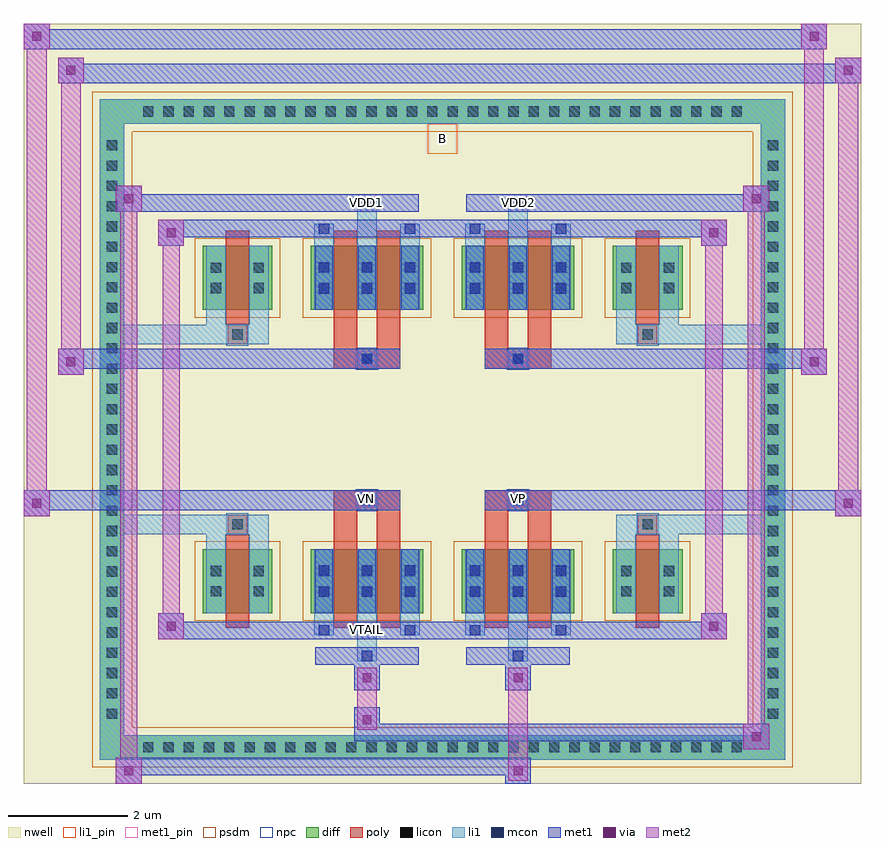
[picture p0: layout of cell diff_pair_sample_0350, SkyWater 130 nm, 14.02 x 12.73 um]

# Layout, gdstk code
import gdstk
lib = gdstk.Library(unit=1e-6, precision=5e-09)
def R(c, l, rs):  # rectangles x0, y0, x1, y1
    for r in rs: c.add(gdstk.rectangle(r[:2], r[2:], *l))
def A(c, l, x, y, w, h, nx, ny, dx, dy):  # array of equal rectangles
    R(c, l, [(x+i*dx, y+j*dy, x+i*dx+w, y+j*dy+h) for i in range(nx) for j in range(ny)])
def P(c, l, *ps):  # polygons
    for p in ps: c.add(gdstk.Polygon(p, *l))
nwell = (64, 20)
diff = (65, 20)
poly = (66, 20)
licon = (66, 44)
li1_pin = (67, 16)
li1 = (67, 20)
mcon = (67, 44)
met1_pin = (68, 16)
met1 = (68, 20)
via = (68, 44)
met2 = (69, 20)
psdm = (94, 20)
npc = (95, 20)

diff_pair_sample_0350 = lib.new_cell('diff_pair_sample_0350')
R(diff_pair_sample_0350, nwell, [(-7.01,-5.93,7.01,6.8), (-4.33,-4.12,-0.01,-0.82), (0.01,-4.12,4.33,-0.82), (-4.33,0.82,-0.01,4.12), (0.01,0.82,4.33,4.12)])
A(diff_pair_sample_0350, diff, -5.135, -5.53, 0.41, 0.41, 30, 2, 0.34, 10.65)
A(diff_pair_sample_0350, diff, -5.74, -4.965, 0.41, 0.41, 1, 29, 0, 0.34)
A(diff_pair_sample_0350, diff, 5.33, -4.965, 0.41, 0.41, 1, 29, 0, 0.34)
R(diff_pair_sample_0350, diff, [(-5.135,-5.53,5.135,-5.12), (-5.74,-4.965,-5.33,4.965), (5.33,-4.965,5.74,4.965), (-4.02,-3.075,-2.85,-2.005), (-2.21,-3.075,-0.32,-2.005), (0.32,-3.075,2.21,-2.005), (2.85,-3.075,4.02,-2.005), (-4.02,2.005,-2.85,3.075), (-2.21,2.005,-0.32,3.075), (0.32,2.005,2.21,3.075), (2.85,2.005,4.02,3.075), (-5.135,5.12,5.135,5.53)])
P(diff_pair_sample_0350, diff, [(5.74,5.53),(-5.74,5.53),(-5.74,-5.12),(-5.33,-5.12),(-5.33,5.12),(5.33,5.12),(5.33,-5.12),(-5.33,-5.12),(-5.74,-5.12),(-5.74,-5.53),(5.74,-5.53)])
R(diff_pair_sample_0350, poly, [(-3.63,-3.325,-3.24,-1.755), (-1.82,-3.325,-1.43,-1.755), (-1.1,-3.325,-0.71,-1.755), (0.71,-3.325,1.1,-1.755), (1.43,-3.325,1.82,-1.755), (3.24,-3.325,3.63,-1.755), (-3.6,-1.755,-3.27,-1.425), (-3.6,-1.755,-3.27,-1.425), (-1.82,-1.755,-1.43,-1.35), (-1.1,-1.755,-0.71,-1.35), (0.71,-1.755,1.1,-1.35), (1.43,-1.755,1.82,-1.35), (3.27,-1.755,3.6,-1.425), (3.27,-1.755,3.6,-1.425), (-1.82,-1.35,-0.71,-1.02), (-1.43,-1.35,-1.1,-1.02), (0.71,-1.35,1.82,-1.02), (1.1,-1.35,1.43,-1.02), (-1.82,1.02,-0.71,1.35), (-1.43,1.02,-1.1,1.35), (0.71,1.02,1.82,1.35), (1.1,1.02,1.43,1.35), (-1.82,1.35,-1.43,1.755), (-1.1,1.35,-0.71,1.755), (0.71,1.35,1.1,1.755), (1.43,1.35,1.82,1.755), (-3.6,1.425,-3.27,1.755), (-3.6,1.425,-3.27,1.755), (3.27,1.425,3.6,1.755), (3.27,1.425,3.6,1.755), (-3.63,1.755,-3.24,3.325), (-1.82,1.755,-1.43,3.325), (-1.1,1.755,-0.71,3.325), (0.71,1.755,1.1,3.325), (1.43,1.755,1.82,3.325), (3.24,1.755,3.63,3.325)])
A(diff_pair_sample_0350, licon, -5.015, -5.41, 0.17, 0.17, 30, 2, 0.34, 10.65)
A(diff_pair_sample_0350, licon, -5.62, -4.845, 0.17, 0.17, 1, 29, 0, 0.34)
A(diff_pair_sample_0350, licon, 5.45, -4.845, 0.17, 0.17, 1, 29, 0, 0.34)
A(diff_pair_sample_0350, licon, -2.07, -2.795, 0.17, 0.17, 3, 2, 0.72, 0.34)
A(diff_pair_sample_0350, licon, 0.46, -2.795, 0.17, 0.17, 3, 2, 0.72, 0.34)
A(diff_pair_sample_0350, licon, -2.07, 2.285, 0.17, 0.17, 3, 2, 0.72, 0.34)
A(diff_pair_sample_0350, licon, 0.46, 2.285, 0.17, 0.17, 3, 2, 0.72, 0.34)
R(diff_pair_sample_0350, licon, [(-3.88,-2.795,-3.71,-2.625), (-3.16,-2.795,-2.99,-2.625), (2.99,-2.795,3.16,-2.625), (3.71,-2.795,3.88,-2.625), (-3.88,-2.455,-3.71,-2.285), (-3.16,-2.455,-2.99,-2.285), (2.99,-2.455,3.16,-2.285), (3.71,-2.455,3.88,-2.285), (-3.52,-1.675,-3.35,-1.505), (3.35,-1.675,3.52,-1.505), (-1.35,-1.27,-1.18,-1.1), (1.18,-1.27,1.35,-1.1), (-1.35,1.1,-1.18,1.27), (1.18,1.1,1.35,1.27), (-3.52,1.505,-3.35,1.675), (3.35,1.505,3.52,1.675), (-3.88,2.285,-3.71,2.455), (-3.16,2.285,-2.99,2.455), (2.99,2.285,3.16,2.455), (3.71,2.285,3.88,2.455), (-3.88,2.625,-3.71,2.795), (-3.16,2.625,-2.99,2.795), (2.99,2.625,3.16,2.795), (3.71,2.625,3.88,2.795)])
R(diff_pair_sample_0350, li1_pin, [(-0.25,4.62,0.25,5.12)])
A(diff_pair_sample_0350, li1, -5.095, -5.49, 0.33, 0.33, 30, 2, 0.34, 10.65)
A(diff_pair_sample_0350, li1, -5.7, -4.925, 0.33, 0.33, 1, 29, 0, 0.34)
A(diff_pair_sample_0350, li1, 5.37, -4.925, 0.33, 0.33, 1, 29, 0, 0.34)
A(diff_pair_sample_0350, li1, -2.15, -3.075, 0.33, 1.07, 3, 2, 0.72, 5.08)
A(diff_pair_sample_0350, li1, 0.38, -3.075, 0.33, 1.07, 3, 2, 0.72, 5.08)
A(diff_pair_sample_0350, li1, -2.15, -2.875, 0.33, 0.33, 3, 2, 0.72, 0.34)
A(diff_pair_sample_0350, li1, 0.38, -2.875, 0.33, 0.33, 3, 2, 0.72, 0.34)
A(diff_pair_sample_0350, li1, -2.07, -2.805, 0.17, 0.17, 3, 2, 0.72, 0.36)
A(diff_pair_sample_0350, li1, -2.07, -2.805, 0.17, 0.53, 3, 2, 0.72, 5.08)
A(diff_pair_sample_0350, li1, 0.46, -2.805, 0.17, 0.17, 3, 2, 0.72, 0.36)
A(diff_pair_sample_0350, li1, 0.46, -2.805, 0.17, 0.53, 3, 2, 0.72, 5.08)
A(diff_pair_sample_0350, li1, -2.15, 2.205, 0.33, 0.33, 3, 2, 0.72, 0.34)
A(diff_pair_sample_0350, li1, 0.38, 2.205, 0.33, 0.33, 3, 2, 0.72, 0.34)
A(diff_pair_sample_0350, li1, -2.07, 2.275, 0.17, 0.17, 3, 2, 0.72, 0.36)
A(diff_pair_sample_0350, li1, 0.46, 2.275, 0.17, 0.17, 3, 2, 0.72, 0.36)
R(diff_pair_sample_0350, li1, [(-5.74,-5.53,-5.33,-5.12), (-5.74,-5.53,-5.33,-5.12), (-5.33,-5.53,5.33,-5.12), (5.33,-5.53,5.74,-5.12), (5.33,-5.53,5.74,-5.12), (-5.74,-5.12,-5.33,5.12), (5.33,-5.12,5.74,5.12), (-1.43,-3.88,-1.1,-3.075), (-1.35,-3.88,-1.18,-3.71), (1.1,-3.88,1.43,-3.075), (1.18,-3.88,1.35,-3.71), (-2.15,-3.45,-1.82,-3.075), (-2.07,-3.45,-1.9,-3.28), (-0.71,-3.45,-0.38,-3.075), (-0.63,-3.45,-0.46,-3.28), (0.38,-3.45,0.71,-3.075), (0.46,-3.45,0.63,-3.28), (1.82,-3.45,2.15,-3.075), (1.9,-3.45,2.07,-3.28), (-3.96,-3.075,-3.63,-2.005), (-3.24,-3.075,-2.91,-2.005), (2.91,-3.075,3.24,-2.005), (3.63,-3.075,3.96,-2.005), (-3.96,-2.875,-3.63,-2.545), (-3.24,-2.875,-2.91,-2.545), (2.91,-2.875,3.24,-2.545), (3.63,-2.875,3.96,-2.545), (-3.96,-2.535,-3.63,-2.205), (-3.24,-2.535,-2.91,-2.205), (2.91,-2.535,3.24,-2.205), (3.63,-2.535,3.96,-2.205), (-3.96,-2.005,-3.63,-1.425), (-3.24,-2.005,-2.91,-1.425), (2.91,-2.005,3.24,-1.425), (3.63,-2.005,3.96,-1.425), (-5.74,-1.755,-3.6,-1.425), (-3.96,-1.755,-3.6,-1.425), (-3.6,-1.755,-3.27,-1.425), (-3.27,-1.755,-2.91,-1.425), (2.91,-1.755,3.27,-1.425), (3.27,-1.755,3.6,-1.425), (3.27,-1.755,5.74,-1.425), (3.6,-1.755,3.96,-1.425), (-1.43,-1.35,-1.1,-1.02), (1.1,-1.35,1.43,-1.02), (-1.43,1.02,-1.1,1.35), (1.1,1.02,1.43,1.35), (-5.74,1.425,-3.6,1.755), (-3.96,1.425,-3.6,1.755), (-3.96,1.425,-3.63,2.005), (-3.6,1.425,-3.27,1.755), (-3.27,1.425,-2.91,1.755), (-3.24,1.425,-2.91,2.005), (2.91,1.425,3.27,1.755), (2.91,1.425,3.24,2.005), (3.27,1.425,3.6,1.755), (3.27,1.425,5.74,1.755), (3.6,1.425,3.96,1.755), (3.63,1.425,3.96,2.005), (-3.96,2.005,-3.63,3.075), (-3.24,2.005,-2.91,3.075), (2.91,2.005,3.24,3.075), (3.63,2.005,3.96,3.075), (-3.96,2.205,-3.63,2.535), (-3.24,2.205,-2.91,2.535), (2.91,2.205,3.24,2.535), (3.63,2.205,3.96,2.535), (-3.96,2.545,-3.63,2.875), (-3.24,2.545,-2.91,2.875), (2.91,2.545,3.24,2.875), (3.63,2.545,3.96,2.875), (-2.15,3.075,-1.82,3.45), (-1.43,3.075,-1.1,3.88), (-0.71,3.075,-0.38,3.45), (0.38,3.075,0.71,3.45), (1.1,3.075,1.43,3.88), (1.82,3.075,2.15,3.45), (-2.07,3.28,-1.9,3.45), (-0.63,3.28,-0.46,3.45), (0.46,3.28,0.63,3.45), (1.9,3.28,2.07,3.45), (-1.35,3.71,-1.18,3.88), (1.18,3.71,1.35,3.88), (-5.74,5.12,-5.33,5.53), (-5.74,5.12,-5.33,5.53), (-5.33,5.12,5.33,5.53), (5.33,5.12,5.74,5.53), (5.33,5.12,5.74,5.53)])
A(diff_pair_sample_0350, mcon, -2.07, -2.805, 0.17, 0.17, 3, 2, 0.72, 0.36)
A(diff_pair_sample_0350, mcon, 0.46, -2.805, 0.17, 0.17, 3, 2, 0.72, 0.36)
A(diff_pair_sample_0350, mcon, -2.07, 2.275, 0.17, 0.17, 3, 2, 0.72, 0.36)
A(diff_pair_sample_0350, mcon, 0.46, 2.275, 0.17, 0.17, 3, 2, 0.72, 0.36)
R(diff_pair_sample_0350, mcon, [(-1.35,-3.88,-1.18,-3.71), (1.18,-3.88,1.35,-3.71), (-2.07,-3.45,-1.9,-3.28), (-0.63,-3.45,-0.46,-3.28), (0.46,-3.45,0.63,-3.28), (1.9,-3.45,2.07,-3.28), (-1.35,-1.27,-1.18,-1.1), (1.18,-1.27,1.35,-1.1), (-1.35,1.1,-1.18,1.27), (1.18,1.1,1.35,1.27), (-2.07,3.28,-1.9,3.45), (-0.63,3.28,-0.46,3.45), (0.46,3.28,0.63,3.45), (1.9,3.28,2.07,3.45), (-1.35,3.71,-1.18,3.88), (1.18,3.71,1.35,3.88)])
R(diff_pair_sample_0350, met1_pin, [(-1.4,-3.49,-1.13,-3.22), (-1.4,-1.29,-1.13,-1.02), (1.13,-1.29,1.4,-1.02), (-1.4,3.67,-1.13,3.94), (1.13,3.67,1.4,3.94)])
A(diff_pair_sample_0350, met1, -2.13, -3.075, 0.29, 1.07, 3, 2, 0.72, 5.08)
A(diff_pair_sample_0350, met1, 0.4, -3.075, 0.29, 1.07, 3, 2, 0.72, 5.08)
A(diff_pair_sample_0350, met1, -2.13, -2.865, 0.29, 0.29, 3, 2, 0.72, 0.36)
A(diff_pair_sample_0350, met1, 0.4, -2.865, 0.29, 0.29, 3, 2, 0.72, 0.36)
A(diff_pair_sample_0350, met1, -2.13, 2.215, 0.29, 0.29, 3, 2, 0.72, 0.36)
A(diff_pair_sample_0350, met1, 0.4, 2.215, 0.29, 0.29, 3, 2, 0.72, 0.36)
R(diff_pair_sample_0350, met1, [(-5.47,-5.93,-5.04,-5.5), (1.05,-5.93,1.48,-5.5), (-5.47,-5.79,1.48,-5.5), (5.04,-5.36,5.47,-4.93), (-1.48,-5.22,5.47,-4.93), (-1.48,-5.08,-1.05,-4.65), (-1.48,-4.37,-1.05,-3.94), (1.05,-4.37,1.48,-3.94), (-2.13,-3.94,-0.4,-3.65), (-1.41,-3.94,-1.12,-3.65), (0.4,-3.94,2.13,-3.65), (1.12,-3.94,1.41,-3.65), (-4.76,-3.51,-4.33,-3.08), (-4.76,-3.51,-2.13,-3.22), (-2.13,-3.51,-1.84,-3.22), (-2.13,-3.51,-0.4,-3.22), (-0.69,-3.51,-0.4,-3.22), (-0.4,-3.51,0.4,-3.22), (0.4,-3.51,0.69,-3.22), (0.4,-3.51,2.13,-3.22), (1.84,-3.51,2.13,-3.22), (2.13,-3.51,4.76,-3.22), (4.33,-3.51,4.76,-3.08), (-7.01,-1.45,-6.58,-1.02), (6.58,-1.45,7.01,-1.02), (-7.01,-1.35,-0.71,-1.02), (-1.82,-1.35,-0.71,-1.02), (0.71,-1.35,1.82,-1.02), (0.71,-1.35,7.01,-1.02), (-1.41,-1.33,-1.12,-1.04), (1.12,-1.33,1.41,-1.04), (-6.44,0.92,-6.01,1.35), (6.01,0.92,6.44,1.35), (-6.44,1.02,-1.82,1.35), (-1.82,1.02,-0.71,1.35), (0.71,1.02,1.82,1.35), (1.82,1.02,6.44,1.35), (-1.41,1.04,-1.12,1.33), (1.12,1.04,1.41,1.33), (-4.76,3.08,-4.33,3.51), (4.33,3.08,4.76,3.51), (-4.76,3.22,-2.13,3.51), (-2.13,3.22,-1.84,3.51), (-2.13,3.22,-0.4,3.51), (-0.69,3.22,-0.4,3.51), (-0.4,3.22,0.4,3.51), (0.4,3.22,0.69,3.51), (0.4,3.22,2.13,3.51), (1.84,3.22,2.13,3.51), (2.13,3.22,4.76,3.51), (-5.47,3.65,-5.04,4.08), (-5.47,3.65,-2.13,3.94), (-2.13,3.65,-0.4,3.94), (-1.41,3.65,-1.12,3.94), (0.4,3.65,2.13,3.94), (1.12,3.65,1.41,3.94), (2.13,3.65,5.47,3.94), (5.04,3.65,5.47,4.08), (-6.44,5.8,-6.01,6.23), (-6.44,5.8,-4.33,6.13), (-4.33,5.8,4.33,6.13), (4.33,5.8,7.01,6.13), (6.58,5.8,7.01,6.23), (-7.01,6.37,-6.58,6.8), (-7.01,6.37,-4.33,6.7), (-4.33,6.37,4.33,6.7), (4.33,6.37,6.44,6.7), (6.01,6.37,6.44,6.8)])
R(diff_pair_sample_0350, via, [(-5.33,-5.79,-5.18,-5.64), (1.19,-5.79,1.34,-5.64), (5.18,-5.22,5.33,-5.07), (-1.34,-4.94,-1.19,-4.79), (-1.34,-4.23,-1.19,-4.08), (1.19,-4.23,1.34,-4.08), (-4.62,-3.37,-4.47,-3.22), (4.47,-3.37,4.62,-3.22), (-6.87,-1.31,-6.72,-1.16), (6.72,-1.31,6.87,-1.16), (-6.3,1.06,-6.15,1.21), (6.15,1.06,6.3,1.21), (-4.62,3.22,-4.47,3.37), (4.47,3.22,4.62,3.37), (-5.33,3.79,-5.18,3.94), (5.18,3.79,5.33,3.94), (-6.3,5.94,-6.15,6.09), (6.72,5.94,6.87,6.09), (-6.87,6.51,-6.72,6.66), (6.15,6.51,6.3,6.66)])
R(diff_pair_sample_0350, met2, [(-5.47,-5.93,-5.04,-5.5), (-5.4,-5.93,-5.11,4.08), (-5.11,-5.93,-5.04,-5.5), (-5.42,-5.88,-5.09,-5.55), (1.1,-5.88,1.43,-5.55), (1.1,-5.55,1.43,-4.32), (5.04,-5.36,5.47,-4.93), (5.11,-5.36,5.4,4.08), (5.4,-5.36,5.47,-4.93), (5.09,-5.31,5.42,-4.98), (-1.43,-5.03,-1.1,-4.7), (-1.43,-4.7,-1.1,-4.32), (-1.43,-4.32,-1.1,-3.99), (1.1,-4.32,1.43,-3.99), (-4.76,-3.51,-4.33,-3.08), (-4.69,-3.51,-4.4,3.51), (-4.4,-3.51,-4.33,-3.08), (4.33,-3.51,4.76,-3.08), (4.4,-3.51,4.69,3.51), (4.69,-3.51,4.76,-3.08), (-4.71,-3.46,-4.38,-3.13), (4.38,-3.46,4.71,-3.13), (-7.01,-1.45,-6.58,-1.02), (-6.96,-1.45,-6.63,6.8), (-6.63,-1.45,-6.58,-1.02), (6.58,-1.45,7.01,-1.02), (6.63,-1.45,6.96,6.23), (6.96,-1.45,7.01,-1.02), (-6.96,-1.4,-6.63,-1.07), (6.63,-1.4,6.96,-1.07), (-6.44,0.92,-6.01,1.35), (-6.39,0.92,-6.06,6.23), (-6.06,0.92,-6.01,1.35), (6.01,0.92,6.44,1.35), (6.06,0.92,6.39,6.8), (6.39,0.92,6.44,1.35), (-6.39,0.97,-6.06,1.3), (6.06,0.97,6.39,1.3), (-4.76,3.08,-4.33,3.51), (-4.4,3.08,-4.33,3.51), (4.33,3.08,4.76,3.51), (4.69,3.08,4.76,3.51), (-4.71,3.13,-4.38,3.46), (4.38,3.13,4.71,3.46), (-5.47,3.65,-5.04,4.08), (-5.11,3.65,-5.04,4.08), (5.04,3.65,5.47,4.08), (5.4,3.65,5.47,4.08), (-5.42,3.7,-5.09,4.03), (5.09,3.7,5.42,4.03), (-6.44,5.8,-6.01,6.23), (-6.06,5.8,-6.01,6.23), (6.58,5.8,7.01,6.23), (6.96,5.8,7.01,6.23), (-6.39,5.85,-6.06,6.18), (6.63,5.85,6.96,6.18), (-7.01,6.37,-6.58,6.8), (-6.63,6.37,-6.58,6.8), (6.01,6.37,6.44,6.8), (6.39,6.37,6.44,6.8), (-6.96,6.42,-6.63,6.75), (6.06,6.42,6.39,6.75)])
R(diff_pair_sample_0350, psdm, [(-4.15,-3.205,-2.72,-1.875), (-2.34,-3.205,-0.19,-1.875), (0.19,-3.205,2.34,-1.875), (2.72,-3.205,4.15,-1.875), (-4.15,1.875,-2.72,3.205), (-2.34,1.875,-0.19,3.205), (0.19,1.875,2.34,3.205), (2.72,1.875,4.15,3.205)])
P(diff_pair_sample_0350, psdm, [(5.87,5.66),(-5.87,5.66),(-5.87,-4.99),(-5.2,-4.99),(-5.2,4.99),(5.2,4.99),(5.2,-4.99),(-5.2,-4.99),(-5.87,-4.99),(-5.87,-5.66),(5.87,-5.66)])
R(diff_pair_sample_0350, npc, [(-3.62,-1.775,-3.25,-1.405), (3.25,-1.775,3.62,-1.405), (-1.45,-1.37,-1.08,-1), (1.08,-1.37,1.45,-1), (-1.45,1,-1.08,1.37), (1.08,1,1.45,1.37), (-3.62,1.405,-3.25,1.775), (3.25,1.405,3.62,1.775)])
diff_pair_sample_0350.add(gdstk.Label('VTAIL', (-1.265,-3.355), layer=68, texttype=5))
diff_pair_sample_0350.add(gdstk.Label('VN', (-1.265,-1.155), layer=68, texttype=5))
diff_pair_sample_0350.add(gdstk.Label('VP', (1.265,-1.155), layer=68, texttype=5))
diff_pair_sample_0350.add(gdstk.Label('B', (0,4.87), layer=67, texttype=5))
diff_pair_sample_0350.add(gdstk.Label('VDD2', (1.265,3.805), layer=68, texttype=5))
diff_pair_sample_0350.add(gdstk.Label('VDD1', (-1.265,3.805), layer=68, texttype=5))

lib.write_gds('diff_pair_sample_0350.gds')
